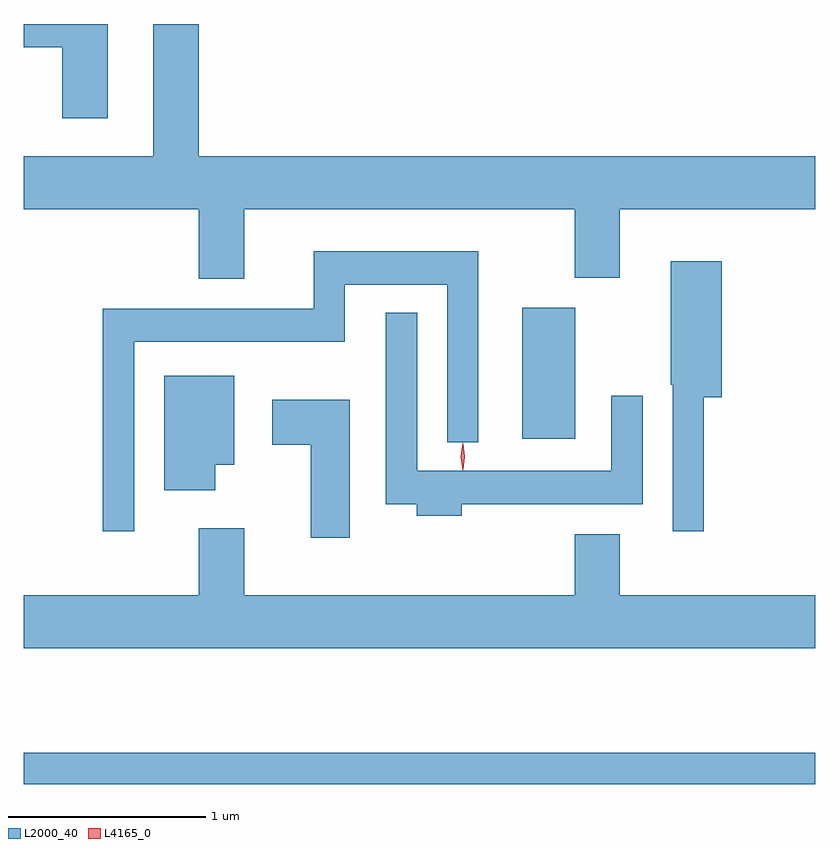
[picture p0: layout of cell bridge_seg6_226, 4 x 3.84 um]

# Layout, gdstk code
import gdstk
lib = gdstk.Library(unit=1e-6, precision=1e-09)
def R(c, l, rs):  # rectangles x0, y0, x1, y1
    for r in rs: c.add(gdstk.rectangle(r[:2], r[2:], *l))
def P(c, l, *ps):  # polygons
    for p in ps: c.add(gdstk.Polygon(p, *l))
L2000_40 = (2000, 40)
L4165_0 = (4165, 0)

bridge_seg6_226 = lib.new_cell('bridge_seg6_226')
R(bridge_seg6_226, L2000_40, [(1125.526,1551.571,1129.526,1551.729), (1128.046,1553.316,1128.314,1553.979)])
P(bridge_seg6_226, L2000_40, [(1126.639,1554.476),(1128.311,1554.476),(1128.311,1554.131),(1128.539,1554.131),(1128.539,1554.476),(1129.526,1554.476),(1129.526,1554.744),(1126.409,1554.744),(1126.409,1555.413),(1126.181,1555.413),(1126.181,1554.744),(1125.526,1554.744),(1125.526,1554.476),(1126.411,1554.476),(1126.411,1554.126),(1126.639,1554.126)],
  [(1125.949,1555.413),(1125.526,1555.413),(1125.526,1555.296),(1125.721,1555.296),(1125.721,1554.936),(1125.949,1554.936)],
  [(1126.084,1553.806),(1127.149,1553.806),(1127.149,1554.096),(1127.666,1554.096),(1127.666,1553.298),(1127.824,1553.298),(1127.824,1554.264),(1126.991,1554.264),(1126.991,1553.974),(1125.926,1553.974),(1125.926,1552.848),(1126.084,1552.848)],
  [(1128.964,1553.526),(1129.054,1553.526),(1129.054,1554.214),(1128.796,1554.214),(1128.796,1553.59),(1128.806,1553.59),(1128.806,1552.848),(1128.964,1552.848)],
  [(1127.739,1552.986),(1128.654,1552.986),(1128.654,1553.533),(1128.496,1553.533),(1128.496,1553.154),(1127.514,1553.154),(1127.514,1553.953),(1127.356,1553.953),(1127.356,1552.986),(1127.511,1552.986),(1127.511,1552.926),(1127.739,1552.926)],
  [(1126.494,1553.186),(1126.589,1553.186),(1126.589,1553.634),(1126.236,1553.634),(1126.236,1553.056),(1126.494,1553.056)],
  [(1127.174,1553.514),(1126.781,1553.514),(1126.781,1553.286),(1126.976,1553.286),(1126.976,1552.816),(1127.174,1552.816)],
  [(1129.526,1552.524),(1128.539,1552.524),(1128.539,1552.834),(1128.311,1552.834),(1128.311,1552.524),(1126.639,1552.524),(1126.639,1552.864),(1126.411,1552.864),(1126.411,1552.524),(1125.526,1552.524),(1125.526,1552.256),(1129.526,1552.256)])
P(bridge_seg6_226, L4165_0, [(1127.744,1553.157),(1127.735,1553.226),(1127.744,1553.296),(1127.745,1553.296),(1127.745,1553.296),(1127.755,1553.226),(1127.745,1553.157),(1127.745,1553.157)],
  [(1127.745,1553.159),(1127.745,1553.16),(1127.735,1553.226),(1127.745,1553.292),(1127.745,1553.293),(1127.746,1553.292),(1127.755,1553.226),(1127.746,1553.16)])

lib.write_gds('bridge_seg6_226.gds')
